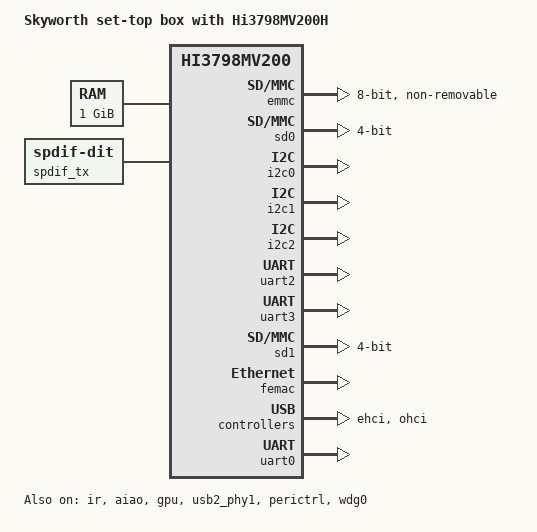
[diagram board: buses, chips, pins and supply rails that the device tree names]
// SPDX-License-Identifier: GPL-2.0
/*
 * DTS File for the Skyworth set-top box built on Hi3798MV200H.
 *
 * Released under the GPLv2 only.
 */

/dts-v1/;

#include "hi3798mv200.dtsi"

/ {
	model = "Skyworth set-top box with Hi3798MV200H";
	compatible = "skyworth,hi3798mv200h-stb", "hisilicon,hi3798mv200";

	aliases {
		serial0 = &uart0;
		mmc0 = &emmc;
		mmc1 = &sd0;
		ethernet0 = &femac;
	};

	chosen {
		stdout-path = "serial0:115200n8";
	};

	memory@0 {
		device_type = "memory";
		reg = <0x0 0x0 0x0 0x40000000>; /* 1 GiB */
	};

	spdif_tx: spdif-transmitter {
		compatible = "linux,spdif-dit";
		/*
		 * of_count_phandle_with_args() has no default for this: without
		 * the property the codec side of the link fails with "Bad phandle
		 * in 'sound-dai'" and the card probe returns -EINVAL.
		 */
		#sound-dai-cells = <0>;
	};

	sound: sound {
		compatible = "hisilicon,hi3798mv200-aiao-card";
		model = "hi3798mv200-aiao-loopback";

		playback {
			cpu {
				sound-dai = <&aiao 0>;
			};

			codec {
				sound-dai = <&spdif_tx>;
			};
		};

		capture {
			cpu {
				sound-dai = <&aiao 1>;
			};
		};
	};
};

&emmc {
	fifo-depth = <256>;
	clock-frequency = <50000000>;
	max-frequency = <150000000>;
	bus-width = <8>;
	cap-mmc-highspeed;
	mmc-ddr-1_8v;
	mmc-hs200-1_8v;
	non-removable;
	status = "okay";
};

/*
 * SD card slot.  The values are the OEM product's own for this block: its
 * device tree gives max-frequency 0x2faf080 (50 MHz) for himciv200.SD, so the
 * UHS modes stay off until a card is in the slot to argue with; the vendor's
 * ldo-addr 0xf8a2011c (PERI_SD_LDO) already reads back non-zero after the
 * bootloader, so nothing here has to drive it.
 */
&sd0 {
	fifo-depth = <256>;
	clock-frequency = <50000000>;
	max-frequency = <50000000>;
	bus-width = <4>;
	cap-sd-highspeed;
	status = "okay";
};

/*
 * All three I2C hosts are enabled in the OEM product's own device tree, at
 * 400 kHz each, with no pinctrl property either, so the bus functions come up
 * as the bootloader left them; a transfer that NACKs (rather than timing out)
 * is what shows that on this board.
 */
&i2c0 {
	status = "okay";
};

&i2c1 {
	status = "okay";
};

&i2c2 {
	status = "okay";
};

/*
 * The two spare serial ports.  The OEM product's device tree enables three
 * PL011s next to the console one, and their gates are CRG26 bits 4 and 6
 * (uart2_cken / uart3_cken), which the CRG driver exposes as clk_uart2 /
 * clk_uart3 off the 75 MHz parent -- unlike uart0, whose functional clock is
 * the SYS_CTRL one that also feeds the earlycon path.
 */
&uart2 {
	status = "okay";
};

&uart3 {
	status = "okay";
};

/*
 * The third MMC host.  The OEM product's device tree calls it sdio (its
 * alias), gives it SPI 86 and the CRG163 gate, and enables it just like the
 * other two; its values here are the OEM's own -- 50 MHz, 4-bit, no UHS.
 */
&sd1 {
	fifo-depth = <256>;
	clock-frequency = <50000000>;
	max-frequency = <50000000>;
	bus-width = <4>;
	cap-sd-highspeed;
	status = "okay";
};

/*
 * The GPIO controllers that answer on this part.  Measured in the vendor
 * fastboot with the APB side clocked (CRG28 written 0x3 and read back, so a
 * missing clock is not the reason): gpio0 and gpio2..gpio8 report Peripheral
 * ID 0x00041061 at offset 0xfe0, while gpio1 at 0xf8b21000 and gpio9 at
 * 0xf8b29000 read all zeroes and ignore writes -- those two slave ports are
 * not wired on this die, so turning them on would only add a phantom gpiochip
 * whose every line reads low.
 */
&gpio2 {
	status = "okay";
};

&gpio3 {
	status = "okay";
};

&gpio4 {
	status = "okay";
};

&gpio5 {
	status = "okay";
};

&gpio6 {
	status = "okay";
};

&gpio7 {
	status = "okay";
};

&gpio8 {
	status = "okay";
};

&femac {
	status = "okay";
};

/* The vendor DT and the board's MDIO scan both put the PHY at address 2. */
&fephy {
	reg = <2>;
};

&gpio0 {
	status = "okay";
};

/*
 * IR receiver.  The remote on this box is the only user-facing input, and the
 * dtsi's ir node is the same IP block as Hi3798CV200's (reg 0x8001000, SPI 47 --
 * the OEM DTB here also says 0x2f, an SPI index, so the +32 INTID convention
 * verified on this board applies).
 *
 * Only a clock is needed, no resets property: the gate lives in the SYS_CTRL
 * window, not the CRG one -- SC_CLKGATE_SRST_CTRL is SYS_CTRL offset 0x48, with
 * bit 4 ir_cken and bit 5 ir_srst_req, and ir-hix5hd2 asks for no reset control.
 * Read on the board 0xf8000048 = 0x60681100, so the boot loader leaves IR
 * unclocked and not held in reset; the driver's clk_prepare_enable() is what
 * brings it up.
 */
&ir {
	status = "okay";

	/*
	 * Codes transcribed from the vendor table for the Skyworth YK remote
	 * (drivers/hisilicon/ir/ir-keymap-nec-skyworth-yk.c of the 3.18/4.4
	 * vendor kernel, "yk-60hb tc9012").  Which scancode convention that
	 * table speaks -- the bytes as the remote sent them, or the per-byte
	 * bit reversal mainline's NEC decoder applies -- is settled by a key
	 * press, not by reading.
	 */
	linux,rc-map-name = "rc-skyworth-yk";
};

/*
 * AIAO audio.  The playback side is a dummy S/PDIF transmitter rather than the
 * HDMI one because this part's display block is not ported yet, and no one has
 * shown which of its three transmit ports reaches the transmitter.  What this
 * shape does exercise is the block's internal loopback -- the receive port
 * samples the serial stream the transmit port emits -- which is how the master
 * clock divider gets pinned down.
 */
&aiao {
	status = "okay";
};

/*
 * Mali-450.  This box has the two pixel-processor variant, and the boot loader
 * leaves CRG53 with the block in reset (0x10) and CRG73's selector at 7, so
 * lima runs it at 200 MHz -- the same frequency the vendor's own enable
 * sequence leaves it at when nothing asks for more.
 */
&gpu {
	status = "okay";
};

/*
 * USB 2.0 host.  The two controllers are the generic platform HCDs and the
 * vendor's own arm64 board file enables them exactly like this (generic-ehci at
 * 0xf9890000 with SPI 66, generic-ohci at 0xf9880000 with SPI 67, both on the
 * CRG46 gate), so no board glue is involved on our side either.
 *
 * The PHY provider is the part that decides whether a port can detect a
 * device: CRG47 bit 0 is the reference clock of both host ports, and it goes
 * away with nothing but the provider left to claim it -- the clock framework
 * turns off every gate no driver has enabled, the vendor fastboot had left
 * that one on, and the ports then stall in "port reset error -110".  Turning
 * the provider on is what hands the gate back to a driver: usb_add_hcd() walks
 * the phys property, so phy_init() enables the reference clock and releases
 * the power-on and per-port resets.
 */
&usb2_phy1 {
	status = "okay";
};

&ehci {
	status = "okay";
};

/*
 * USB 3.0 is left disabled here, and not because of a missing sequence: this
 * part does not answer the island from the bus at all.  The system controller's
 * USB3.0 and combo-phy registers (offsets 0x134, 0x138, 0x850, 0x854) miss on
 * the read decode, CRG44 and CRG98 read zero and mask writes -- including with
 * the phy's mode field in PERI_CTRL set to USB3.0 -- and the controller window
 * takes an external abort on the first read.  The board's own vendor
 * devicetree has no xhci node either, and enabling these nodes only panics
 * the board.
 */
/* &xhci       { status = "okay"; }; */

/*
 * The peripheral controller has to be enabled for its children to exist at all:
 * of_platform_bus_create() only walks the subtree once the parent device has
 * been created (drivers/of/platform.c, the !dev early return), and a disabled
 * parent hides the combo phy below it -- which is why an earlier attempt at
 * USB 3 here never even tried to release the phy's power-on reset.
 */
&perictrl {
	status = "okay";
};

/*
 * USB 3.0 host: left disabled, and not because the description is missing.
 * Measured on board in the vendor fastboot stage (AArch32), where the writes are
 * visible to the same tool that reads them back: CRG47 (0xf8a220bc) takes a
 * write (0x7 written, 0x7 read), while CRG44 (0xf8a220b0) and CRG98
 * (0xf8a22188) keep reading 0 no matter what is written -- the USB3CTRL and
 * COMBPHY register blocks ignore writes.  Touching the DWC3 register file in
 * that state aborts synchronously (reading 0xf98a0c10 restarts the box straight
 * into the BootROM), and enabling the nodes from the kernel gives exactly the
 * oops "synchronous external abort" at the first core access
 * (dwc3_core_probe, GSBUSCFG0 0xc100), so the gates the kernel asks for never
 * reach the hardware.  Before USB3 can be turned on, whatever clocks the
 * USB3CTRL/COMBPHY register blocks need must be brought up first -- and note
 * this board's own fastboot never initialises USB3 at all (CRG44=0, CRG98=0,
 * CRG100=0 read on board), so nothing is inherited from it.
 */

&ohci {
	status = "okay";
};
&uart0 {
	status = "okay";
};

/*
 * SP805 watchdog 0.  This is the board's self-rescue channel: there is no PSCI
 * and no restart handler other than this one on the whole SoC, so without it a
 * kernel panic -- or the boot stub hanging before any driver probes -- leaves
 * the box silent in a spin loop and only pulling power brings it back to the
 * vendor fastboot.  sp805_wdt registers a restart handler at priority 128, and
 * the dtsi's resets = <&crg 0x178 4> is the same CRG94 bit 4 the vendor's
 * reset_cpu() clears.  timeout-sec is the value Linux boots with; the stub arms
 * a longer one to cover the pre-probe window and watchdog_handle_boot_enabled
 * then stops it here.
 */
&wdg0 {
	status = "okay";
	timeout-sec = <30>;
};
